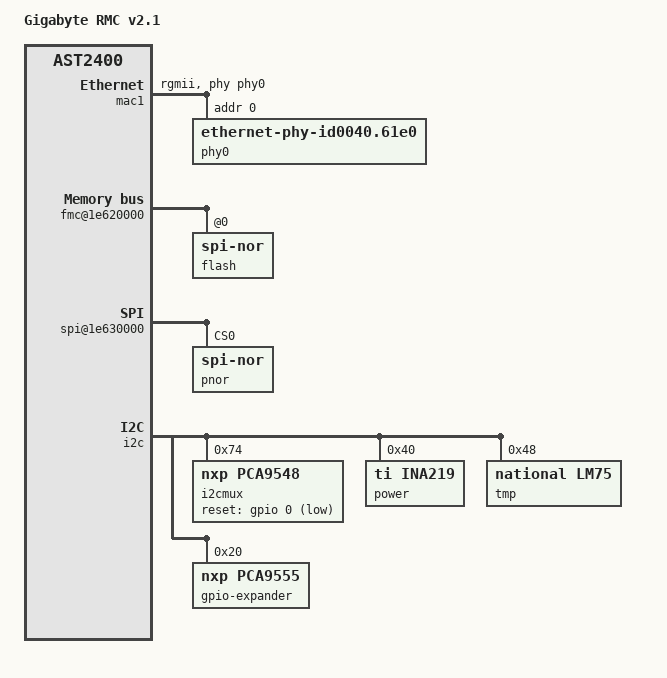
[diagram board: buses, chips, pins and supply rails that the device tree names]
/dts-v1/;

#include "ast2400.dtsi"
#include <dt-bindings/gpio/gpio.h>

/ {
	model = "Gigabyte RMC v2.1";
	compatible = "gb,rmc21", "aspeed,ast2400";

	ahb {
		mac0: ethernet@1e660000 {
			use-nc-si;
			no-hw-checksum;
		};

		mac1: ethernet@1e680000 {
			compatible = "faraday,ftgmac100", "aspeed,ast2400-mac";
			reg = <0x1e680000 0x180>;
			interrupts = <3>;
			no-hw-checksum;

			phy-handle = <&phy0>;
			phy-mode = "rgmii";

			phy0: phy@3 {
				compatible = "ethernet-phy-id0040.61e0",
					     "ethernet-phy-ieee802.3-c22";
				reg = <0x0>;
			};
		};

		fmc@1e620000 {
			reg = < 0x1e620000 0x94
				0x20000000 0x02000000 >;
			#address-cells = <1>;
			#size-cells = <0>;
			compatible = "aspeed,fmc";
			flash@0 {
				reg = < 0 >;
				compatible = "jedec,spi-nor" ;
				/*
				 * Possibly required props:
				 * spi-max-frequency = <>
				 * spi-tx-bus-width = <>
				 * spi-rx-bus-width  = <>
				 * m25p,fast-read
				 * spi-cpol if inverse clock polarity (CPOL)
				 * spi-cpha if shifted clock phase (CPHA)
				 */
#include "aspeed-rmc-16M-flash-layout.dtsi"
			};
		};
		spi@1e630000 {
			reg = < 0x1e630000 0x18
				0x30000000 0x02000000 >;
			#address-cells = <1>;
			#size-cells = <0>;
			compatible = "aspeed,smc";
			flash {
				reg = < 0 >;
				compatible = "jedec,spi-nor" ;
				label = "pnor";
				/* spi-max-frequency = <>; */
				/* m25p,fast-read; */
			};
		};

		apb {
			i2c: i2c@1e78a040 {
				i2c0: i2c-bus@40 {
					i2cmux@74 {
						compatible = "nxp,pca9548";
						#address-cells = <1>;
						#size-cells = <0>;
						reg = <0x74>;
						reset-gpios = <&gpio 0 GPIO_ACTIVE_LOW>;
					};
				};
				i2c2: i2c-bus@c0 {
					power@40 {
						compatible = "ti,ina219";
						reg = <0x40>;
					};
				};
				i2c3: i2c-bus@100 {
					tmp@48 {
						compatible = "national,lm75";
						reg = <0x48>;
					};
				};
				i2c6: i2c-bus@1c0 {
					gpio-expander@20 {
						compatible = "nxp,pca9555";
						gpio-controller;
						#gpio-cells = <2>;
						reg = <0x20>;
					};
				};
			};
		};
	};
};
